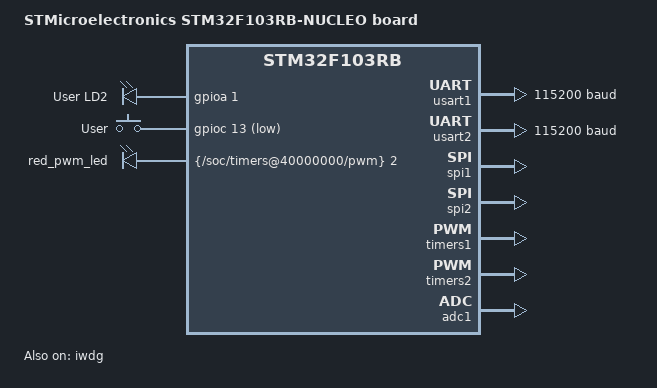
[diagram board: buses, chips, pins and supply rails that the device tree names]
/*
 * Copyright (c) 2017 Linaro Limited
 *
 * SPDX-License-Identifier: Apache-2.0
 */

/dts-v1/;
#include <st/f1/stm32f103X8.dtsi>

/ {
	model = "STMicroelectronics STM32F103RB-NUCLEO board";
	compatible = "st,stm32f103rb-nucleo", "st,stm32f103rb";

	chosen {
		zephyr,console = &usart1;
		zephyr,shell-uart = &usart1;
		zephyr,sram = &sram0;
		zephyr,flash = &flash0;
	};

	leds {
		compatible = "gpio-leds";
		green_led_2: led_2 {
			// gpios = <&gpioa 1 GPIO_ACTIVE_HIGH>;
                        gpios = <&gpioa 1 GPIO_ACTIVE_HIGH>;
			label = "User LD2";
		};
	};

	gpio_keys {
		compatible = "gpio-keys";
		user_button: button {
			label = "User";
			gpios = <&gpioc 13 GPIO_ACTIVE_LOW>;
		};
	};

        pwmleds {
            compatible = "pwm-leds";
            red_pwm_led: red_pwm_led {
                  pwms = <&{/soc/timers@40000000/pwm} 2 4>;
              };
        };
	aliases {
		led0 = &green_led_2;
		sw0 = &user_button;
                pwm-led0 = &red_pwm_led;
	};
};

&usart1 {
      current-speed = <115200>;
      status = "okay";
};

&usart2 {
      current-speed = <115200>;
      status = "okay";
};

&spi1 {
	status = "okay";
};

&spi2 {
	status = "okay";
};

&timers1 {
	status = "okay";

	pwm {
            status = "okay";
	};
};
&timers2 {
        status = "okay";

        pwm {
            status = "okay";
            st,prescaler = <71>;
        };
};

&iwdg {
	status = "okay";
};

&adc1 {
	status = "okay";
};
